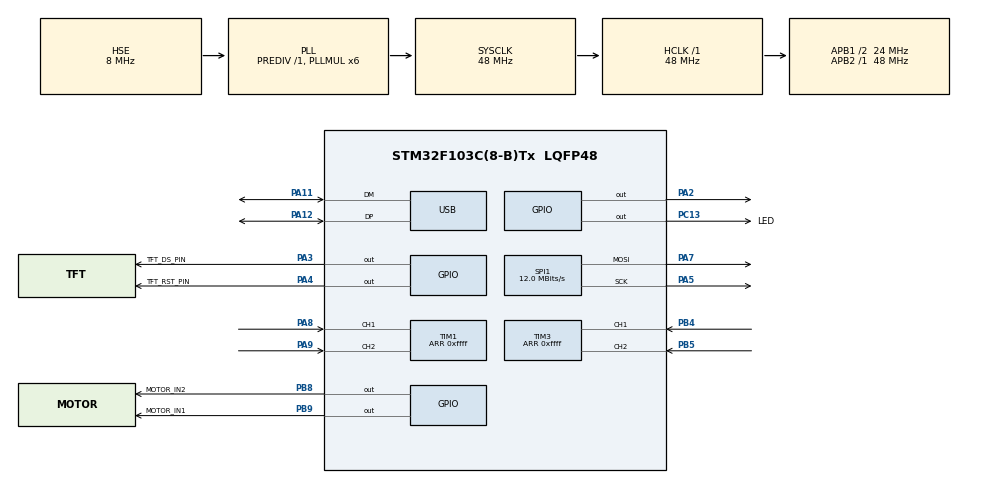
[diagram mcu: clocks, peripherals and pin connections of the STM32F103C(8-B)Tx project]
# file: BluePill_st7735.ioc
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Mcu.Family=STM32F1
Mcu.Name=STM32F103C(8-B)Tx
Mcu.Package=LQFP48
NVIC.PriorityGroup=NVIC_PRIORITYGROUP_4
NVIC.USB_LP_CAN1_RX0_IRQn=true\:0\:0\:false\:false\:true\:false\:true
PA11.Mode=Device
PA11.Signal=USB_DM
PA12.Mode=Device
PA12.Signal=USB_DP
PA13.Mode=Trace_Asynchronous_SW
PA13.Signal=SYS_JTMS-SWDIO
PA14.Mode=Trace_Asynchronous_SW
PA14.Signal=SYS_JTCK-SWCLK
PA2.GPIO_ModeDefaultOutputPP=GPIO_MODE_OUTPUT_PP
PA2.GPIO_PuPd=GPIO_NOPULL
PA2.GPIO_Speed=GPIO_SPEED_FREQ_LOW
PA2.PinState=GPIO_PIN_RESET
PA2.Signal=GPIO_Output
PA3.GPIO_Label=TFT_DS_PIN
PA3.GPIO_ModeDefaultOutputPP=GPIO_MODE_OUTPUT_PP
PA3.GPIO_PuPd=GPIO_NOPULL
PA3.GPIO_Speed=GPIO_SPEED_FREQ_LOW
PA3.PinState=GPIO_PIN_RESET
PA3.Signal=GPIO_Output
PA4.GPIO_Label=TFT_RST_PIN
PA4.GPIO_ModeDefaultOutputPP=GPIO_MODE_OUTPUT_PP
PA4.GPIO_PuPd=GPIO_NOPULL
PA4.GPIO_Speed=GPIO_SPEED_FREQ_LOW
PA4.PinState=GPIO_PIN_RESET
PA4.Signal=GPIO_Output
PA5.Mode=TX_Only_Simplex_Unidirect_Master
PA5.Signal=SPI1_SCK
PA7.Mode=TX_Only_Simplex_Unidirect_Master
PA7.Signal=SPI1_MOSI
PA8.GPIO_Mode=GPIO_MODE_INPUT
PA8.GPIO_PuPd=GPIO_NOPULL
PA8.Signal=S_TIM1_CH1
PA9.GPIO_Mode=GPIO_MODE_INPUT
PA9.GPIO_PuPd=GPIO_NOPULL
PA9.Signal=S_TIM1_CH2
PB3.Mode=Trace_Asynchronous_SW
PB3.Signal=SYS_JTDO-TRACESWO
PB4.Signal=S_TIM3_CH1
PB5.Signal=S_TIM3_CH2
PB8.GPIO_Label=MOTOR_IN2
PB8.Signal=GPIO_Output
PB9.GPIO_Label=MOTOR_IN1
PB9.Signal=GPIO_Output
PC13-TAMPER-RTC.GPIO_Label=LED
PC13-TAMPER-RTC.GPIO_ModeDefaultOutputPP=GPIO_MODE_OUTPUT_PP
PC13-TAMPER-RTC.GPIO_PuPd=GPIO_NOPULL
PC13-TAMPER-RTC.GPIO_Speed=GPIO_SPEED_FREQ_LOW
PC13-TAMPER-RTC.PinState=GPIO_PIN_RESET
PC13-TAMPER-RTC.Signal=GPIO_Output
PC14-OSC32_IN.Mode=LSE-External-Oscillator
PC14-OSC32_IN.Signal=RCC_OSC32_IN
PC15-OSC32_OUT.Mode=LSE-External-Oscillator
PC15-OSC32_OUT.Signal=RCC_OSC32_OUT
PD0-OSC_IN.Mode=HSE-External-Oscillator
PD0-OSC_IN.Signal=RCC_OSC_IN
PD1-OSC_OUT.Mode=HSE-External-Oscillator
PD1-OSC_OUT.Signal=RCC_OSC_OUT
ProjectManager.HeapSize=0x200
ProjectManager.StackSize=0x400
ProjectManager.TargetToolchain=STM32CubeIDE
RCC.AHBFreq_Value=48000000
RCC.APB1CLKDivider=RCC_HCLK_DIV2
RCC.APB1Freq_Value=24000000
RCC.APB1TimFreq_Value=48000000
RCC.APB2Freq_Value=48000000
RCC.APB2TimFreq_Value=48000000
RCC.HCLKFreq_Value=48000000
RCC.PLLMUL=RCC_PLL_MUL6
RCC.SYSCLKFreq_VALUE=48000000
RCC.SYSCLKSource=RCC_SYSCLKSOURCE_PLLCLK
RCC.USBFreq_Value=48000000
SH.S_TIM1_CH1.0=TIM1_CH1,Encoder_Interface
SH.S_TIM1_CH2.0=TIM1_CH2,Encoder_Interface
SH.S_TIM3_CH1.0=TIM3_CH1,Encoder_Interface
SH.S_TIM3_CH2.0=TIM3_CH2,Encoder_Interface
SPI1.BaudRatePrescaler=SPI_BAUDRATEPRESCALER_4
SPI1.CalculateBaudRate=12.0 MBits/s
SPI1.Direction=SPI_DIRECTION_2LINES
SPI1.Mode=SPI_MODE_MASTER
SPI1.VirtualType=VM_MASTER
TIM1.EncoderMode=TIM_ENCODERMODE_TI2
TIM1.Period=0xffff
TIM3.Period=0xffff
USB_DEVICE.CLASS_NAME_FS=CDC
USB_DEVICE.VirtualMode=Cdc
USB_DEVICE.VirtualModeFS=Cdc_FS
VP_USB_DEVICE_VS_USB_DEVICE_CDC_FS.Mode=CDC_FS
board=custom

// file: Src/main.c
/* USER CODE BEGIN Header */
/**
  ******************************************************************************
  * @file           : main.c
  * @brief          : Main program body
  ******************************************************************************
  * @attention
  *
  * <h2><center>&copy; Copyright (c) 2019 STMicroelectronics.
  * All rights reserved.</center></h2>
  *
  * This software component is licensed by ST under BSD 3-Clause license,
  * the "License"; You may not use this file except in compliance with the
  * License. You may obtain a copy of the License at:
  *                        opensource.org/licenses/BSD-3-Clause
  *
  ******************************************************************************
  */
/* USER CODE END Header */
#include "main.h"
#include "usb_device.h"

/* USER CODE BEGIN Includes */
#include <stdio.h>
#include "testimg.h"
#include "fonts.h"
#include "st7735.h"
/* USER CODE END Includes */

SPI_HandleTypeDef hspi1;

TIM_HandleTypeDef htim1;
TIM_HandleTypeDef htim3;

void SystemClock_Config(void);
static void MX_GPIO_Init(void);
static void MX_SPI1_Init(void);
static void MX_TIM1_Init(void);
static void MX_TIM3_Init(void);

/* USER CODE BEGIN 0 */
void testlines(uint16_t color) {
	ST7735_FillScreen(ST7735_BLACK);
  for (int16_t x=0; x < ST7735_WIDTH; x+=6) {
	  ST7735_DrawLine(0, 0, x, ST7735_HEIGHT-1, color);
  }
  for (int16_t y=0; y < ST7735_HEIGHT; y+=6) {
	  ST7735_DrawLine(0, 0, ST7735_WIDTH-1, y, color);
  }

  ST7735_FillScreen(ST7735_BLACK);
  for (int16_t x=0; x < ST7735_WIDTH; x+=6) {
	  ST7735_DrawLine(ST7735_WIDTH-1, 0, x, ST7735_HEIGHT-1, color);
  }
  for (int16_t y=0; y < ST7735_HEIGHT; y+=6) {
	  ST7735_DrawLine(ST7735_WIDTH-1, 0, 0, y, color);
  }

  ST7735_FillScreen(ST7735_BLACK);
  for (int16_t x=0; x < ST7735_WIDTH; x+=6) {
	  ST7735_DrawLine(0, ST7735_HEIGHT-1, x, 0, color);
  }
  for (int16_t y=0; y < ST7735_HEIGHT; y+=6) {
	  ST7735_DrawLine(0, ST7735_HEIGHT-1, ST7735_WIDTH-1, y, color);
  }

  ST7735_FillScreen(ST7735_BLACK);
  for (int16_t x=0; x < ST7735_WIDTH; x+=6) {
	  ST7735_DrawLine(ST7735_WIDTH-1, ST7735_HEIGHT-1, x, 0, color);
  }
  for (int16_t y=0; y < ST7735_HEIGHT; y+=6) {
	  ST7735_DrawLine(ST7735_WIDTH-1, ST7735_HEIGHT-1, 0, y, color);
  }
}
/* USER CODE END 0 */

int main(void)
{
  /* USER CODE BEGIN 1 */
//printf("begin\n");
  /* USER CODE END 1 */

  /* MCU Configuration--------------------------------------------------------*/

  /* Reset of all peripherals, Initializes the Flash interface and the Systick. */
  HAL_Init();

  /* Configure the system clock */
  SystemClock_Config();

  /* Initialize all configured peripherals */
  MX_GPIO_Init();
  MX_SPI1_Init();
  MX_TIM1_Init();
  MX_TIM3_Init();
  MX_USB_DEVICE_Init();
  /* USER CODE BEGIN 2 */
  ST7735_Init();
  /* USER CODE END 2 */

  /* Infinite loop */
  /* USER CODE BEGIN WHILE */
  while (1)
  {
		// Check border
		ST7735_FillScreen(ST7735_BLACK);

	    while(1){
	    	HAL_GPIO_TogglePin(LED_GPIO_Port, LED_Pin);
			int timerValue1 = __HAL_TIM_GET_COUNTER(&htim1);
			int timerValue3 = __HAL_TIM_GET_COUNTER(&htim3);
			char str[80];

			sprintf(str, "%d   %d       ", timerValue1, timerValue3);
			ST7735_WriteString(0, 0, str, Font_16x26, ST7735_BLUE, ST7735_BLACK);
	    }
    /* USER CODE END WHILE */

  }
}

void SystemClock_Config(void)
{
  RCC_OscInitTypeDef RCC_OscInitStruct = {0};
  RCC_ClkInitTypeDef RCC_ClkInitStruct = {0};
  RCC_PeriphCLKInitTypeDef PeriphClkInit = {0};

  /** Initializes the RCC Oscillators according to the specified parameters
  * in the RCC_OscInitTypeDef structure.
  */
  RCC_OscInitStruct.OscillatorType = RCC_OSCILLATORTYPE_HSE;
  RCC_OscInitStruct.HSEState = RCC_HSE_ON;
  RCC_OscInitStruct.HSEPredivValue = RCC_HSE_PREDIV_DIV1;
  RCC_OscInitStruct.HSIState = RCC_HSI_ON;
  RCC_OscInitStruct.PLL.PLLState = RCC_PLL_ON;
  RCC_OscInitStruct.PLL.PLLSource = RCC_PLLSOURCE_HSE;
  RCC_OscInitStruct.PLL.PLLMUL = RCC_PLL_MUL6;
  if (HAL_RCC_OscConfig(&RCC_OscInitStruct) != HAL_OK)
  {
    Error_Handler();
  }
  /** Initializes the CPU, AHB and APB buses clocks
  */
  RCC_ClkInitStruct.ClockType = RCC_CLOCKTYPE_HCLK|RCC_CLOCKTYPE_SYSCLK
                              |RCC_CLOCKTYPE_PCLK1|RCC_CLOCKTYPE_PCLK2;
  RCC_ClkInitStruct.SYSCLKSource = RCC_SYSCLKSOURCE_PLLCLK;
  RCC_ClkInitStruct.AHBCLKDivider = RCC_SYSCLK_DIV1;
  RCC_ClkInitStruct.APB1CLKDivider = RCC_HCLK_DIV2;
  RCC_ClkInitStruct.APB2CLKDivider = RCC_HCLK_DIV1;

  if (HAL_RCC_ClockConfig(&RCC_ClkInitStruct, FLASH_LATENCY_1) != HAL_OK)
  {
    Error_Handler();
  }
  PeriphClkInit.PeriphClockSelection = RCC_PERIPHCLK_USB;
  PeriphClkInit.UsbClockSelection = RCC_USBCLKSOURCE_PLL;
  if (HAL_RCCEx_PeriphCLKConfig(&PeriphClkInit) != HAL_OK)
  {
    Error_Handler();
  }
}

static void MX_SPI1_Init(void)
{

  /* SPI1 parameter configuration*/
  hspi1.Instance = SPI1;
  hspi1.Init.Mode = SPI_MODE_MASTER;
  hspi1.Init.Direction = SPI_DIRECTION_2LINES;
  hspi1.Init.DataSize = SPI_DATASIZE_8BIT;
  hspi1.Init.CLKPolarity = SPI_POLARITY_LOW;
  hspi1.Init.CLKPhase = SPI_PHASE_1EDGE;
  hspi1.Init.NSS = SPI_NSS_SOFT;
  hspi1.Init.BaudRatePrescaler = SPI_BAUDRATEPRESCALER_4;
  hspi1.Init.FirstBit = SPI_FIRSTBIT_MSB;
  hspi1.Init.TIMode = SPI_TIMODE_DISABLE;
  hspi1.Init.CRCCalculation = SPI_CRCCALCULATION_DISABLE;
  hspi1.Init.CRCPolynomial = 10;
  if (HAL_SPI_Init(&hspi1) != HAL_OK)
  {
    Error_Handler();
  }

}

static void MX_TIM1_Init(void)
{

  TIM_Encoder_InitTypeDef sConfig = {0};
  TIM_MasterConfigTypeDef sMasterConfig = {0};

  htim1.Instance = TIM1;
  htim1.Init.Prescaler = 0;
  htim1.Init.CounterMode = TIM_COUNTERMODE_UP;
  htim1.Init.Period = 0xffff;
  htim1.Init.ClockDivision = TIM_CLOCKDIVISION_DIV1;
  htim1.Init.RepetitionCounter = 0;
  htim1.Init.AutoReloadPreload = TIM_AUTORELOAD_PRELOAD_DISABLE;
  sConfig.EncoderMode = TIM_ENCODERMODE_TI2;
  sConfig.IC1Polarity = TIM_ICPOLARITY_RISING;
  sConfig.IC1Selection = TIM_ICSELECTION_DIRECTTI;
  sConfig.IC1Prescaler = TIM_ICPSC_DIV1;
  sConfig.IC1Filter = 0;
  sConfig.IC2Polarity = TIM_ICPOLARITY_RISING;
  sConfig.IC2Selection = TIM_ICSELECTION_DIRECTTI;
  sConfig.IC2Prescaler = TIM_ICPSC_DIV1;
  sConfig.IC2Filter = 0;
  if (HAL_TIM_Encoder_Init(&htim1, &sConfig) != HAL_OK)
  {
    Error_Handler();
  }
  sMasterConfig.MasterOutputTrigger = TIM_TRGO_RESET;
  sMasterConfig.MasterSlaveMode = TIM_MASTERSLAVEMODE_DISABLE;
  if (HAL_TIMEx_MasterConfigSynchronization(&htim1, &sMasterConfig) != HAL_OK)
  {
    Error_Handler();
  }
  /* USER CODE BEGIN TIM1_Init 2 */
  HAL_TIM_Base_Start(&htim1);
  /* USER CODE END TIM1_Init 2 */

}

static void MX_TIM3_Init(void)
{

  TIM_Encoder_InitTypeDef sConfig = {0};
  TIM_MasterConfigTypeDef sMasterConfig = {0};

  htim3.Instance = TIM3;
  htim3.Init.Prescaler = 0;
  htim3.Init.CounterMode = TIM_COUNTERMODE_UP;
  htim3.Init.Period = 0xffff;
  htim3.Init.ClockDivision = TIM_CLOCKDIVISION_DIV1;
  htim3.Init.AutoReloadPreload = TIM_AUTORELOAD_PRELOAD_DISABLE;
  sConfig.EncoderMode = TIM_ENCODERMODE_TI1;
  sConfig.IC1Polarity = TIM_ICPOLARITY_RISING;
  sConfig.IC1Selection = TIM_ICSELECTION_DIRECTTI;
  sConfig.IC1Prescaler = TIM_ICPSC_DIV1;
  sConfig.IC1Filter = 0;
  sConfig.IC2Polarity = TIM_ICPOLARITY_RISING;
  sConfig.IC2Selection = TIM_ICSELECTION_DIRECTTI;
  sConfig.IC2Prescaler = TIM_ICPSC_DIV1;
  sConfig.IC2Filter = 0;
  if (HAL_TIM_Encoder_Init(&htim3, &sConfig) != HAL_OK)
  {
    Error_Handler();
  }
  sMasterConfig.MasterOutputTrigger = TIM_TRGO_RESET;
  sMasterConfig.MasterSlaveMode = TIM_MASTERSLAVEMODE_DISABLE;
  if (HAL_TIMEx_MasterConfigSynchronization(&htim3, &sMasterConfig) != HAL_OK)
  {
    Error_Handler();
  }
  /* USER CODE BEGIN TIM3_Init 2 */
  HAL_TIM_Base_Start(&htim3);
  /* USER CODE END TIM3_Init 2 */

}

static void MX_GPIO_Init(void)
{
  GPIO_InitTypeDef GPIO_InitStruct = {0};

  /* GPIO Ports Clock Enable */
  __HAL_RCC_GPIOC_CLK_ENABLE();
  __HAL_RCC_GPIOD_CLK_ENABLE();
  __HAL_RCC_GPIOA_CLK_ENABLE();
  __HAL_RCC_GPIOB_CLK_ENABLE();

  /*Configure GPIO pin Output Level */
  HAL_GPIO_WritePin(LED_GPIO_Port, LED_Pin, GPIO_PIN_RESET);

  /*Configure GPIO pin Output Level */
  HAL_GPIO_WritePin(GPIOA, GPIO_PIN_2|TFT_DS_PIN_Pin|TFT_RST_PIN_Pin, GPIO_PIN_RESET);

  /*Configure GPIO pin Output Level */
  HAL_GPIO_WritePin(GPIOB, MOTOR_IN2_Pin|MOTOR_IN1_Pin, GPIO_PIN_RESET);

  /*Configure GPIO pin : LED_Pin */
  GPIO_InitStruct.Pin = LED_Pin;
  GPIO_InitStruct.Mode = GPIO_MODE_OUTPUT_PP;
  GPIO_InitStruct.Pull = GPIO_NOPULL;
  GPIO_InitStruct.Speed = GPIO_SPEED_FREQ_LOW;
  HAL_GPIO_Init(LED_GPIO_Port, &GPIO_InitStruct);

  /*Configure GPIO pins : PA2 TFT_DS_PIN_Pin TFT_RST_PIN_Pin */
  GPIO_InitStruct.Pin = GPIO_PIN_2|TFT_DS_PIN_Pin|TFT_RST_PIN_Pin;
  GPIO_InitStruct.Mode = GPIO_MODE_OUTPUT_PP;
  GPIO_InitStruct.Pull = GPIO_NOPULL;
  GPIO_InitStruct.Speed = GPIO_SPEED_FREQ_LOW;
  HAL_GPIO_Init(GPIOA, &GPIO_InitStruct);

  /*Configure GPIO pins : MOTOR_IN2_Pin MOTOR_IN1_Pin */
  GPIO_InitStruct.Pin = MOTOR_IN2_Pin|MOTOR_IN1_Pin;
  GPIO_InitStruct.Mode = GPIO_MODE_OUTPUT_PP;
  GPIO_InitStruct.Pull = GPIO_NOPULL;
  GPIO_InitStruct.Speed = GPIO_SPEED_FREQ_LOW;
  HAL_GPIO_Init(GPIOB, &GPIO_InitStruct);

}

/* USER CODE BEGIN 4 */
//int _write(int file, char *ptr, int len)
//{
//  /* Implement your write code here, this is used by puts and printf for example */
//  int i=0;
//  for(i=0 ; i<len ; i++)
//    ITM_SendChar((*ptr++));
//  return len;
//}

/* USER CODE END 4 */

void Error_Handler(void)
{
}
